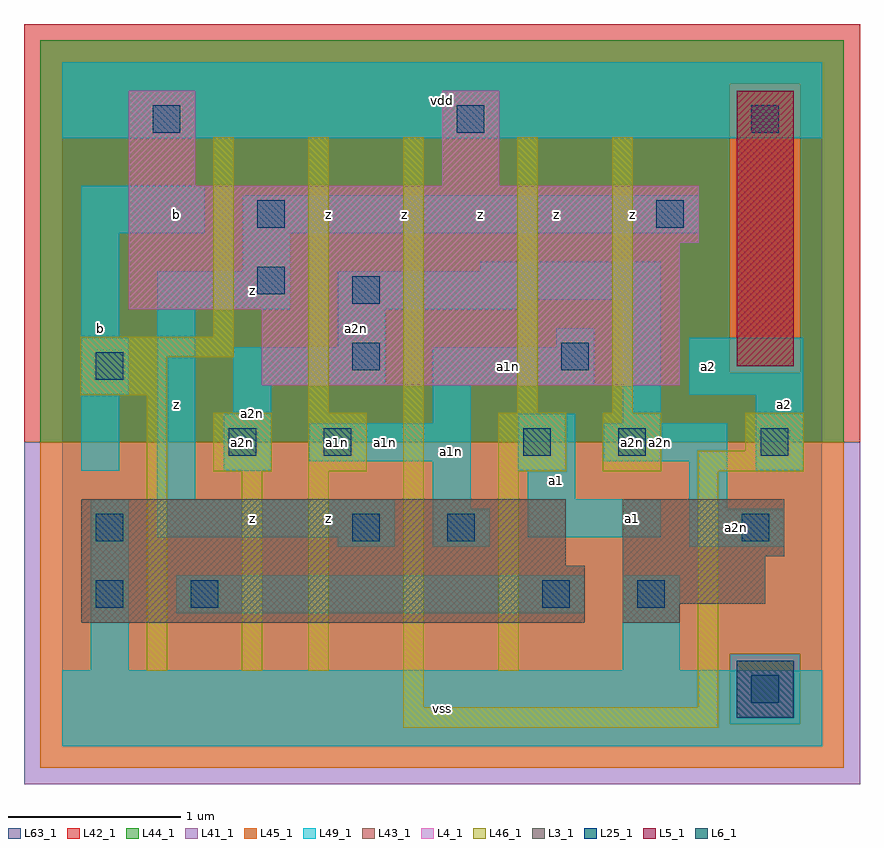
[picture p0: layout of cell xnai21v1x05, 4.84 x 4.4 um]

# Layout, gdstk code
import gdstk
lib = gdstk.Library(unit=1e-6, precision=1e-09)
def R(c, l, rs):  # rectangles x0, y0, x1, y1
    for r in rs: c.add(gdstk.rectangle(r[:2], r[2:], *l))
L3_1 = (3, 1)
L4_1 = (4, 1)
L5_1 = (5, 1)
L6_1 = (6, 1)
L25_1 = (25, 1)
L41_1 = (41, 1)
L42_1 = (42, 1)
L43_1 = (43, 1)
L44_1 = (44, 1)
L45_1 = (45, 1)
L46_1 = (46, 1)
L49_1 = (49, 1)
L63_1 = (63, 1)

xnai21v1x05 = lib.new_cell('xnai21v1x05')
R(xnai21v1x05, L3_1, [(0.11,0.715,3.025,1.045), (3.245,0.715,3.575,0.825), (3.245,0.825,4.07,1.1), (0.11,1.045,2.915,1.43), (3.245,1.1,4.18,1.43)])
R(xnai21v1x05, L4_1, [(1.155,2.09,3.575,2.53), (0.385,2.53,3.575,2.915), (0.385,2.915,3.685,3.245), (0.385,3.245,0.77,3.795), (2.2,3.245,2.53,3.795)])
R(xnai21v1x05, L5_1, [(3.905,2.2,4.235,3.795)])
R(xnai21v1x05, L6_1, [(3.905,0.165,4.235,0.495)])
R(xnai21v1x05, L25_1, [(3.99,0.25,4.15,0.41), (0.195,0.8,0.355,0.96), (0.745,0.8,0.905,0.96), (2.78,0.8,2.94,0.96), (3.33,0.8,3.49,0.96), (0.195,1.185,0.355,1.345), (1.68,1.185,1.84,1.345), (2.23,1.185,2.39,1.345), (3.935,1.185,4.095,1.345), (0.965,1.68,1.125,1.84), (1.515,1.68,1.675,1.84), (2.67,1.68,2.83,1.84), (3.22,1.68,3.38,1.84), (4.045,1.68,4.205,1.84), (0.195,2.12,0.355,2.28), (1.68,2.175,1.84,2.335), (2.89,2.175,3.05,2.335), (1.68,2.56,1.84,2.72), (1.13,2.615,1.29,2.775), (1.13,3,1.29,3.16), (3.44,3,3.6,3.16), (0.525,3.55,0.685,3.71), (2.285,3.55,2.445,3.71), (3.99,3.55,4.15,3.71)])
R(xnai21v1x05, L41_1, [(-0.22,-0.22,4.62,1.76)])
R(xnai21v1x05, L42_1, [(-0.22,1.76,4.62,4.18)])
R(xnai21v1x05, L43_1, [(3.905,0.165,4.235,0.495), (0.11,0.715,3.025,1.045), (3.245,0.715,3.575,0.825), (3.245,0.825,4.07,1.1), (0.11,1.045,2.915,1.43), (3.245,1.1,4.18,1.43), (1.155,2.09,3.575,2.53), (3.905,2.2,4.235,3.795), (0.385,2.53,3.575,2.915), (0.385,2.915,3.685,3.245), (0.385,3.245,0.77,3.795), (2.2,3.245,2.53,3.795)])
R(xnai21v1x05, L44_1, [(3.865,0.125,4.275,0.535), (-0.125,1.76,4.525,2.16), (-0.125,2.16,3.865,3.835), (4.275,2.16,4.525,3.835), (-0.125,3.835,4.525,4.085)])
R(xnai21v1x05, L45_1, [(-0.125,-0.125,4.525,0.125), (-0.125,0.125,3.865,0.535), (4.275,0.125,4.525,0.535), (-0.125,0.535,4.525,1.76), (3.865,2.16,4.275,3.835)])
R(xnai21v1x05, L46_1, [(1.975,0.105,3.8,0.225), (1.975,0.225,2.095,3.525), (3.68,0.225,3.8,1.59), (0.49,0.435,0.61,2.03), (1.04,0.435,1.16,1.59), (1.425,0.435,1.545,1.59), (2.525,0.435,2.645,1.59), (0.875,1.59,1.215,1.93), (1.425,1.59,1.765,1.93), (2.525,1.59,2.92,1.93), (3.13,1.59,3.47,1.93), (3.68,1.59,4.295,1.71), (3.955,1.71,4.295,1.93), (1.425,1.93,1.545,3.525), (2.635,1.93,2.755,3.525), (3.185,1.93,3.305,3.525), (0.105,2.03,0.61,2.25), (0.105,2.25,0.995,2.37), (0.875,2.37,0.995,3.525)])
R(xnai21v1x05, L49_1, [(0,0,4.4,0.44), (0.165,0.44,0.385,1.43), (3.245,0.44,3.575,0.99), (0.66,0.77,3.025,0.99), (1.595,1.155,1.925,1.21), (2.145,1.155,2.475,1.375), (3.63,1.155,4.18,1.375), (0.55,1.21,1.925,1.43), (2.695,1.21,3.465,1.43), (2.145,1.375,2.365,1.65), (3.63,1.375,3.85,1.65), (0.55,1.43,0.77,2.53), (2.695,1.43,2.97,1.595), (0.11,1.595,0.33,2.035), (0.935,1.595,1.21,1.925), (2.64,1.595,2.97,1.925), (4.015,1.595,4.29,2.035), (1.43,1.65,2.365,1.87), (3.135,1.65,3.85,1.87), (2.145,1.87,2.365,2.09), (3.245,1.87,3.465,2.585), (0.99,1.925,1.21,2.09), (0.11,2.035,0.385,2.365), (3.63,2.035,4.29,2.365), (0.99,2.09,1.87,2.31), (2.145,2.09,3.08,2.31), (1.595,2.31,1.87,2.53), (2.86,2.31,3.08,2.42), (0.11,2.365,0.33,2.97), (0.55,2.53,1.32,2.75), (1.595,2.53,2.64,2.585), (1.595,2.585,3.465,2.75), (1.045,2.75,1.32,2.97), (2.42,2.75,3.465,2.805), (0.11,2.97,0.825,3.245), (1.045,2.97,3.685,3.19), (0,3.52,4.4,3.96)])
R(xnai21v1x05, L63_1, [(0,0,4.4,3.96)])
xnai21v1x05.add(gdstk.Label('a2n', (1.045,1.76), layer=49, texttype=1))
xnai21v1x05.add(gdstk.Label('a1n', (1.595,1.76), layer=49, texttype=1))
xnai21v1x05.add(gdstk.Label('a2n', (3.3,1.76), layer=49, texttype=1))
xnai21v1x05.add(gdstk.Label('b', (0.22,2.42), layer=49, texttype=1))
xnai21v1x05.add(gdstk.Label('z', (1.54,1.32), layer=49, texttype=1))
xnai21v1x05.add(gdstk.Label('z', (1.1,1.32), layer=49, texttype=1))
xnai21v1x05.add(gdstk.Label('a2n', (1.1,1.925), layer=49, texttype=1))
xnai21v1x05.add(gdstk.Label('z', (0.66,1.98), layer=49, texttype=1))
xnai21v1x05.add(gdstk.Label('z', (1.1,2.64), layer=49, texttype=1))
xnai21v1x05.add(gdstk.Label('z', (1.54,3.08), layer=49, texttype=1))
xnai21v1x05.add(gdstk.Label('b', (0.66,3.08), layer=49, texttype=1))
xnai21v1x05.add(gdstk.Label('vss', (2.2,0.22), layer=49, texttype=1))
xnai21v1x05.add(gdstk.Label('a1n', (2.255,1.705), layer=49, texttype=1))
xnai21v1x05.add(gdstk.Label('a1n', (1.87,1.76), layer=49, texttype=1))
xnai21v1x05.add(gdstk.Label('a2n', (1.705,2.42), layer=49, texttype=1))
xnai21v1x05.add(gdstk.Label('z', (1.98,3.08), layer=49, texttype=1))
xnai21v1x05.add(gdstk.Label('z', (2.42,3.08), layer=49, texttype=1))
xnai21v1x05.add(gdstk.Label('vdd', (2.2,3.74), layer=49, texttype=1))
xnai21v1x05.add(gdstk.Label('a1', (3.3,1.32), layer=49, texttype=1))
xnai21v1x05.add(gdstk.Label('a1', (2.86,1.54), layer=49, texttype=1))
xnai21v1x05.add(gdstk.Label('a1n', (2.585,2.2), layer=49, texttype=1))
xnai21v1x05.add(gdstk.Label('z', (3.3,3.08), layer=49, texttype=1))
xnai21v1x05.add(gdstk.Label('z', (2.86,3.08), layer=49, texttype=1))
xnai21v1x05.add(gdstk.Label('a2n', (3.905,1.265), layer=49, texttype=1))
xnai21v1x05.add(gdstk.Label('a2n', (3.465,1.76), layer=49, texttype=1))
xnai21v1x05.add(gdstk.Label('a2', (3.74,2.2), layer=49, texttype=1))
xnai21v1x05.add(gdstk.Label('a2', (4.18,1.98), layer=49, texttype=1))

lib.write_gds('xnai21v1x05.gds')
